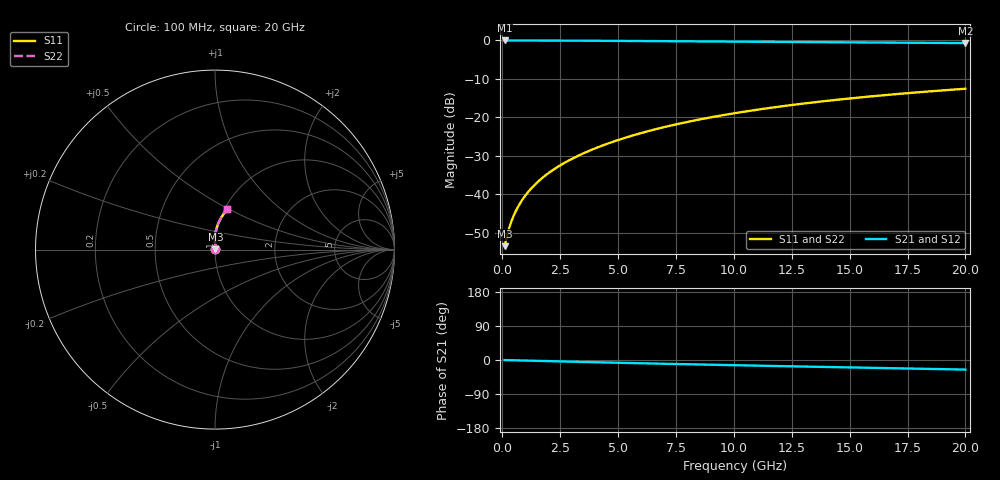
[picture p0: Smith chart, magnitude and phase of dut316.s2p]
! Touchstone file exported from HFSS 2024.1.0
!  File:  C:/UserFiles/LocalFiles/RDL_TSV_Batchsim/temp_RDL_bottom_316_1779610851.aedt
!  Generated:  04:23:26 PM May 24, 2026
!  Design:  RDL_bottom
!  Project:  temp_RDL_bottom_316_1779610851
!  Setup:  Setup1
!  Solution:  Sweep
! Variables:
!  dtsv = 10.80580581um
!  hbump = 3um
!  htsv = 68.66um
!  ldown = 346.6um
!  lrdl = 100um
!  p = 40
!  p1 = 51.11um
!  rhole = 1um
!  t = 450um
!  tdown = 2.98um
!  trdl = 3.915915916um
!  wdown = 26.94um
!  wrdl = 20um
# GHz S MA R 50.000000
! Terminal data exported
! Port[1] = RDL1_T1
! Port[2] = RDL1_T2
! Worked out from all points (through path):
!   200 points, 100 MHz to 20 GHz, reference 50 ohm
!   highest |S21| = -0.02 dB at 100 MHz (marker M1); lowest = -0.7 dB at 20 GHz (marker M2)
!   group delay of S21, straight-line fit = 3.46 ps
!   lowest |S11| = -53.5 dB at 100 MHz (marker M3), VSWR 1.00, Z = 50.2 + j0.107 ohm
!   |S11| at or under -10 dB: start of sweep to end of sweep
!   |S22| runs from -53.5 to -12.6 dB; largest |S21 - S12| = 2e-15
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0.1  0.002109 30.4  0.9982 -0.2  0.9982 -0.2  0.002109 30.4
! Gamma 0 0 0 0
! Port Impedance 50 0 50 0
0.2  0.002826 47.6  0.9981 -0.3  0.9981 -0.3  0.002826 47.6
0.3  0.003649 56.8  0.9979 -0.5  0.9979 -0.5  0.003649 56.8
0.4  0.004488 62.5  0.9978 -0.6  0.9978 -0.6  0.004487 62.5
0.5  0.00533 66.5  0.9977 -0.8  0.9977 -0.8  0.005329 66.5
0.6  0.006176 69.6  0.9975 -0.9  0.9975 -0.9  0.006176 69.6
0.8  0.007893 74.2  0.9973 -1.2  0.9973 -1.2  0.007892 74.2
1.1  0.01053 78.6  0.9969 -1.7  0.9969 -1.7  0.01053 78.6
1.3  0.01233 80.7  0.9966 -2.0  0.9966 -2.0  0.01233 80.7
1.6  0.01509 83.0  0.9961 -2.4  0.9961 -2.4  0.01509 83.0
2.1  0.01982 85.7  0.995 -3.2  0.995 -3.2  0.01982 85.7
2.7  0.02572 87.7  0.9935 -4.1  0.9935 -4.1  0.02573 87.8
3.5  0.03398 89.4  0.991 -5.2  0.991 -5.2  0.03399 89.4
4.2  0.04156 90.1  0.9885 -6.2  0.9885 -6.2  0.04157 90.2
5  0.0506 90.5  0.9853 -7.3  0.9853 -7.3  0.05062 90.5
6.8  0.07213 89.9  0.9777 -9.7  0.9777 -9.7  0.07218 90.0
8.4  0.09216 88.4  0.9708 -11.7  0.9708 -11.7  0.09223 88.5
10.1  0.1138 86.4  0.9635 -13.8  0.9635 -13.8  0.1139 86.5
11.7  0.1343 84.2  0.9568 -15.7  0.9568 -15.7  0.1344 84.3
13.4  0.1558 81.9  0.9498 -17.8  0.9498 -17.8  0.156 82.0
16.7  0.1965 77.3  0.9365 -21.6  0.9365 -21.6  0.1967 77.4
20  0.2352 72.8  0.9232 -25.3  0.9232 -25.3  0.2355 72.9
